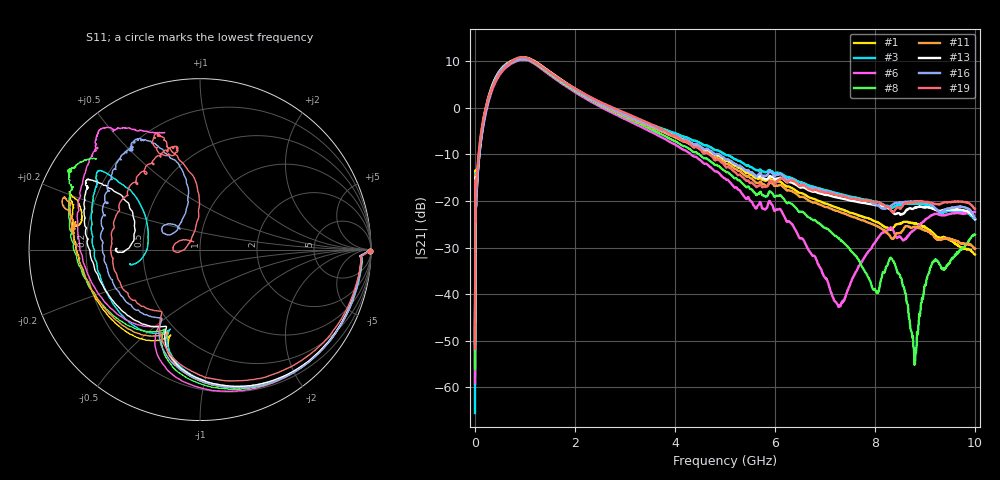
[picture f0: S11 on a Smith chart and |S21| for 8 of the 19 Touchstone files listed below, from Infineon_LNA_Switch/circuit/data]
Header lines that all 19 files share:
!Agilent Technologies,E5071C,MY46316587,B.13.01
!Data & Calibration Information:
!Freq	S11:SOLT2(ON)	S21:SOLT2(ON)	S12:SOLT2(ON)	S22:SOLT2(ON)
!PortZ  Port1:50+j0  Port2:50+j0
!Above PortZ is port z conversion or system Z0 setting when saving the data.
!When reading, reference impedance value at option line is always used.
# Hz S dB R 50
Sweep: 300 kHz to 10 GHz
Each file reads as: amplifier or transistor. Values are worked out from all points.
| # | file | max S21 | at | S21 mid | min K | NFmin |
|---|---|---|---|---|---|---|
| 1 | BGM15LBA12_RX3_2P8V_HG.S2P | 10.8 dB | 970.3 MHz | -11.3 dB at 5 GHz | 1.26 | 1.07 dB |
| 2 | BGM15LBA12_RX4_1P8V_HG.S2P | 10.5 dB | 970.3 MHz | -10.1 dB at 5 GHz | 1.28 | 1.05 dB |
| 3 | BGM15LBA12_RX4_2P8V_HG.S2P | 10.8 dB | 970.3 MHz | -10.0 dB at 5 GHz | 1.31 | 1.06 dB |
| 4 | BGM15LBA12_RX5_1P8V_HG.S2P | 10.7 dB | 970.3 MHz | -14.7 dB at 5 GHz | 1.13 | 1.10 dB |
| 5 | BGM15LBA12_RX5_2P8V_HG.S2P | 11.0 dB | 970.3 MHz | -14.6 dB at 5 GHz | 1.15 | 1.09 dB |
| 6 | BGM17LBA12_RX1_1P8_HG.S2P | 10.4 dB | 970.3 MHz | -15.2 dB at 5 GHz | 1.13 | 1.06 dB |
| 7 | BGM17LBA12_RX1_2P8_HG.S2P | 10.7 dB | 970.3 MHz | -15.1 dB at 5 GHz | 1.15 | 1.08 dB |
| 8 | BGM17LBA12_RX2_1P8_HG.S2P | 10.5 dB | 970.3 MHz | -13.6 dB at 5 GHz | 1.20 | 1.07 dB |
| 9 | BGM17LBA12_RX2_2P8_HG.S2P | 10.8 dB | 970.3 MHz | -13.4 dB at 5 GHz | 1.23 | 1.08 dB |
| 10 | BGM17LBA12_RX3_1P8_HG.S2P | 10.4 dB | 990.3 MHz | -12.0 dB at 5 GHz | 1.24 | 1.08 dB |
| 11 | BGM17LBA12_RX3_2P8_HG.S2P | 10.7 dB | 990.3 MHz | -11.9 dB at 5 GHz | 1.27 | 1.11 dB |
| 12 | BGM17LBA12_RX4_1P8_HG.S2P | 10.4 dB | 990.3 MHz | -11.2 dB at 5 GHz | 1.27 | 1.07 dB |
| 13 | BGM17LBA12_RX4_2P8_HG.S2P | 10.7 dB | 990.3 MHz | -11.1 dB at 5 GHz | 1.29 | 1.08 dB |
| 14 | BGM17LBA12_RX5_1P8_HG.S2P | 10.3 dB | 1 GHz | -11.2 dB at 5 GHz | 1.29 | 1.09 dB |
| 15 | BGM17LBA12_RX5_2P8_HG.S2P | 10.6 dB | 1 GHz | -11.1 dB at 5 GHz | 1.32 | 1.10 dB |
| 16 | BGM17LBA12_RX6_1P8_HG.S2P | 10.5 dB | 990.3 MHz | -11.0 dB at 5 GHz | 1.31 | 1.12 dB |
| 17 | BGM17LBA12_RX6_2P8_HG.S2P | 10.8 dB | 990.3 MHz | -10.8 dB at 5 GHz | 1.32 | 1.13 dB |
| 18 | BGM17LBA12_RX7_1P8_HG.S2P | 10.6 dB | 940.3 MHz | -12.6 dB at 5 GHz | 1.40 | 1.14 dB |
| 19 | BGM17LBA12_RX7_2P8_HG.S2P | 10.9 dB | 940.3 MHz | -12.5 dB at 5 GHz | 1.43 | 1.16 dB |
